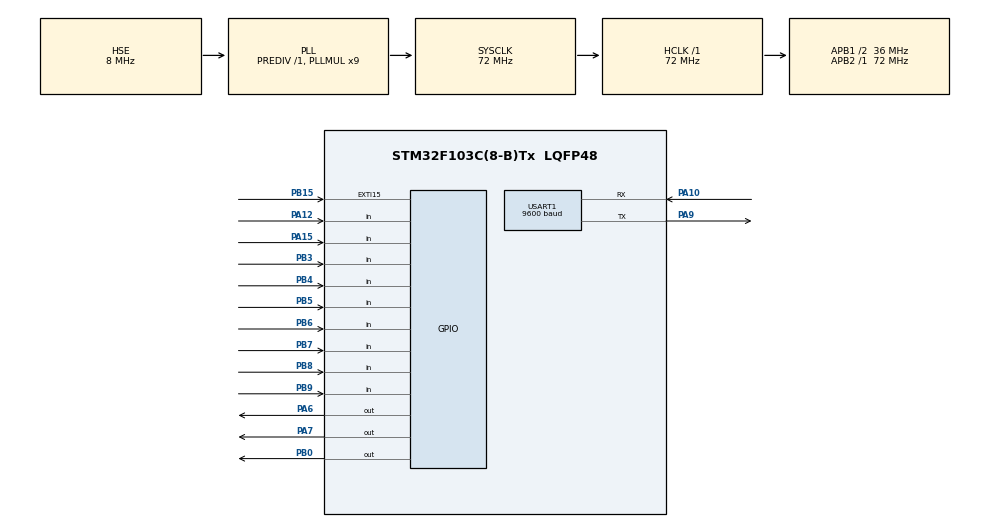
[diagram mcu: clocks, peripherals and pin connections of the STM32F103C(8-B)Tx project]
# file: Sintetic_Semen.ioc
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Mcu.Family=STM32F1
Mcu.Name=STM32F103C(8-B)Tx
Mcu.Package=LQFP48
NVIC.PriorityGroup=NVIC_PRIORITYGROUP_4
NVIC.TIM1_UP_IRQn=true\:0\:0\:false\:false\:true\:true\:true\:true
NVIC.USART1_IRQn=true\:0\:0\:false\:false\:true\:true\:true\:true
PA10.Mode=Asynchronous
PA10.Signal=USART1_RX
PA12.Signal=GPIO_Input
PA13.Mode=Serial_Wire
PA13.Signal=SYS_JTMS-SWDIO
PA14.Mode=Serial_Wire
PA14.Signal=SYS_JTCK-SWCLK
PA15.Signal=GPIO_Input
PA6.Signal=GPIO_Output
PA7.Signal=GPIO_Output
PA9.Mode=Asynchronous
PA9.Signal=USART1_TX
PB0.Signal=GPIO_Output
PB15.Signal=GPXTI15
PB3.Signal=GPIO_Input
PB4.Signal=GPIO_Input
PB5.Signal=GPIO_Input
PB6.Signal=GPIO_Input
PB7.Signal=GPIO_Input
PB8.Signal=GPIO_Input
PB9.Signal=GPIO_Input
PD0-OSC_IN.Mode=HSE-External-Oscillator
PD0-OSC_IN.Signal=RCC_OSC_IN
PD1-OSC_OUT.Mode=HSE-External-Oscillator
PD1-OSC_OUT.Signal=RCC_OSC_OUT
ProjectManager.HeapSize=0x200
ProjectManager.StackSize=0x400
ProjectManager.TargetToolchain=STM32CubeIDE
RCC.AHBFreq_Value=72000000
RCC.APB1CLKDivider=RCC_HCLK_DIV2
RCC.APB1Freq_Value=36000000
RCC.APB1TimFreq_Value=72000000
RCC.APB2Freq_Value=72000000
RCC.APB2TimFreq_Value=72000000
RCC.HCLKFreq_Value=72000000
RCC.PLLMUL=RCC_PLL_MUL9
RCC.PLLSourceVirtual=RCC_PLLSOURCE_HSE
RCC.SYSCLKFreq_VALUE=72000000
RCC.SYSCLKSource=RCC_SYSCLKSOURCE_PLLCLK
RCC.USBFreq_Value=72000000
TIM1.Period=1
TIM1.Prescaler=35999
USART1.BaudRate=9600
USART1.VirtualMode=VM_ASYNC
VP_TIM1_VS_ClockSourceINT.Mode=Internal
board=custom

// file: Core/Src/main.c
/* USER CODE BEGIN Header */
/**
  ******************************************************************************
  * @file           : main.c
  * @brief          : Main program body
  ******************************************************************************
  * @attention
  *
  * Copyright (c) 2023 STMicroelectronics.
  * All rights reserved.
  *
  * This software is licensed under terms that can be found in the LICENSE file
  * in the root directory of this software component.
  * If no LICENSE file comes with this software, it is provided AS-IS.
  *
  ******************************************************************************
  */
/* USER CODE END Header */
#include "main.h"

/* USER CODE BEGIN Includes */
#include "UART.h"
#include "keyboard.h"
#include "StandProcessor.h"

#include "dfr0299.h"
/* USER CODE END Includes */

TIM_HandleTypeDef htim1;

UART_HandleTypeDef huart1;

void SystemClock_Config(void);
static void MX_GPIO_Init(void);
static void MX_TIM1_Init(void);
static void MX_USART1_UART_Init(void);

/* USER CODE BEGIN 0 */
UINT16 TimCount = 0;
UINT16 TimCount2 = 1;
uint8_t KeyFlag = 0;
uint8_t BusyFlag = 0;
void Timer1_Interrupt(){
	TimCount++;
	if(TimCount == 100){
		KeyFlag = 1;
		TimCount = 0;
	}

}

UINT8 track = 0;
/* USER CODE END 0 */

int main(void)
{
  /* USER CODE BEGIN 1 */
	  for(uint8_t i = 0; i < 255; i++)//for (long int i=0; i<500000; i++)
	  {
		  for(uint8_t i = 0; i < 255; i++)
		  {
			asm ("nop""\n\tnop""\n\tnop""\n\tnop""\n\tnop""\n\tnop");
			asm ("nop""\n\tnop""\n\tnop""\n\tnop""\n\tnop""\n\tnop");
			asm ("nop""\n\tnop""\n\tnop""\n\tnop""\n\tnop""\n\tnop");
			asm ("nop""\n\tnop""\n\tnop""\n\tnop""\n\tnop""\n\tnop");
			asm ("nop""\n\tnop""\n\tnop""\n\tnop""\n\tnop""\n\tnop");
			asm ("nop""\n\tnop""\n\tnop""\n\tnop""\n\tnop""\n\tnop");
		  }
	  }
  /* USER CODE END 1 */

  /* MCU Configuration--------------------------------------------------------*/

  /* Reset of all peripherals, Initializes the Flash interface and the Systick. */
  HAL_Init();

  /* Configure the system clock */
  SystemClock_Config();

  /* Initialize all configured peripherals */
  MX_GPIO_Init();
  MX_TIM1_Init();
  MX_USART1_UART_Init();
  /* USER CODE BEGIN 2 */
  UART_Init();
  KeyboardInit();
  StandProcessor_Init();

  HAL_TIM_Base_Start_IT(&htim1);
  /* USER CODE END 2 */

  /* Infinite loop */
  /* USER CODE BEGIN WHILE */
  while (1)
  {
	 // StandProcessor_SetAnswerResultIndicationState(2);

	  if(KeyFlag){
	  			  KeyboardProcess();
	  			  KeyFlag = 0;

/*	  			StandProcessor_GetInfo(TimCount2);
	  			TimCount2++;*/
	  }
    /* USER CODE END WHILE */

  }
}

void SystemClock_Config(void)
{
  RCC_OscInitTypeDef RCC_OscInitStruct = {0};
  RCC_ClkInitTypeDef RCC_ClkInitStruct = {0};

  /** Initializes the RCC Oscillators according to the specified parameters
  * in the RCC_OscInitTypeDef structure.
  */
  RCC_OscInitStruct.OscillatorType = RCC_OSCILLATORTYPE_HSE;
  RCC_OscInitStruct.HSEState = RCC_HSE_ON;
  RCC_OscInitStruct.HSEPredivValue = RCC_HSE_PREDIV_DIV1;
  RCC_OscInitStruct.HSIState = RCC_HSI_ON;
  RCC_OscInitStruct.PLL.PLLState = RCC_PLL_ON;
  RCC_OscInitStruct.PLL.PLLSource = RCC_PLLSOURCE_HSE;
  RCC_OscInitStruct.PLL.PLLMUL = RCC_PLL_MUL9;
  if (HAL_RCC_OscConfig(&RCC_OscInitStruct) != HAL_OK)
  {
    Error_Handler();
  }

  /** Initializes the CPU, AHB and APB buses clocks
  */
  RCC_ClkInitStruct.ClockType = RCC_CLOCKTYPE_HCLK|RCC_CLOCKTYPE_SYSCLK
                              |RCC_CLOCKTYPE_PCLK1|RCC_CLOCKTYPE_PCLK2;
  RCC_ClkInitStruct.SYSCLKSource = RCC_SYSCLKSOURCE_PLLCLK;
  RCC_ClkInitStruct.AHBCLKDivider = RCC_SYSCLK_DIV1;
  RCC_ClkInitStruct.APB1CLKDivider = RCC_HCLK_DIV2;
  RCC_ClkInitStruct.APB2CLKDivider = RCC_HCLK_DIV1;

  if (HAL_RCC_ClockConfig(&RCC_ClkInitStruct, FLASH_LATENCY_2) != HAL_OK)
  {
    Error_Handler();
  }
}

static void MX_TIM1_Init(void)
{

  TIM_ClockConfigTypeDef sClockSourceConfig = {0};
  TIM_MasterConfigTypeDef sMasterConfig = {0};

  htim1.Instance = TIM1;
  htim1.Init.Prescaler = 35999;
  htim1.Init.CounterMode = TIM_COUNTERMODE_UP;
  htim1.Init.Period = 1;
  htim1.Init.ClockDivision = TIM_CLOCKDIVISION_DIV1;
  htim1.Init.RepetitionCounter = 0;
  htim1.Init.AutoReloadPreload = TIM_AUTORELOAD_PRELOAD_DISABLE;
  if (HAL_TIM_Base_Init(&htim1) != HAL_OK)
  {
    Error_Handler();
  }
  sClockSourceConfig.ClockSource = TIM_CLOCKSOURCE_INTERNAL;
  if (HAL_TIM_ConfigClockSource(&htim1, &sClockSourceConfig) != HAL_OK)
  {
    Error_Handler();
  }
  sMasterConfig.MasterOutputTrigger = TIM_TRGO_RESET;
  sMasterConfig.MasterSlaveMode = TIM_MASTERSLAVEMODE_DISABLE;
  if (HAL_TIMEx_MasterConfigSynchronization(&htim1, &sMasterConfig) != HAL_OK)
  {
    Error_Handler();
  }

}

static void MX_USART1_UART_Init(void)
{

  huart1.Instance = USART1;
  huart1.Init.BaudRate = 9600;
  huart1.Init.WordLength = UART_WORDLENGTH_8B;
  huart1.Init.StopBits = UART_STOPBITS_1;
  huart1.Init.Parity = UART_PARITY_NONE;
  huart1.Init.Mode = UART_MODE_TX_RX;
  huart1.Init.HwFlowCtl = UART_HWCONTROL_NONE;
  huart1.Init.OverSampling = UART_OVERSAMPLING_16;
  if (HAL_UART_Init(&huart1) != HAL_OK)
  {
    Error_Handler();
  }

}

static void MX_GPIO_Init(void)
{
  GPIO_InitTypeDef GPIO_InitStruct = {0};

  /* GPIO Ports Clock Enable */
  __HAL_RCC_GPIOD_CLK_ENABLE();
  __HAL_RCC_GPIOA_CLK_ENABLE();
  __HAL_RCC_GPIOB_CLK_ENABLE();

  /*Configure GPIO pin Output Level */
  HAL_GPIO_WritePin(GPIOA, GPIO_PIN_6|GPIO_PIN_7, GPIO_PIN_RESET);

  /*Configure GPIO pin Output Level */
  HAL_GPIO_WritePin(GPIOB, GPIO_PIN_0, GPIO_PIN_RESET);

  /*Configure GPIO pins : PA6 PA7 */
  GPIO_InitStruct.Pin = GPIO_PIN_6|GPIO_PIN_7;
  GPIO_InitStruct.Mode = GPIO_MODE_OUTPUT_PP;
  GPIO_InitStruct.Pull = GPIO_NOPULL;
  GPIO_InitStruct.Speed = GPIO_SPEED_FREQ_LOW;
  HAL_GPIO_Init(GPIOA, &GPIO_InitStruct);

  /*Configure GPIO pin : PB0 */
  GPIO_InitStruct.Pin = GPIO_PIN_0;
  GPIO_InitStruct.Mode = GPIO_MODE_OUTPUT_PP;
  GPIO_InitStruct.Pull = GPIO_NOPULL;
  GPIO_InitStruct.Speed = GPIO_SPEED_FREQ_LOW;
  HAL_GPIO_Init(GPIOB, &GPIO_InitStruct);

  /*Configure GPIO pin : PB15 */
  GPIO_InitStruct.Pin = GPIO_PIN_15;
  GPIO_InitStruct.Mode = GPIO_MODE_IT_RISING;
  GPIO_InitStruct.Pull = GPIO_NOPULL;
  HAL_GPIO_Init(GPIOB, &GPIO_InitStruct);

  /*Configure GPIO pins : PA12 PA15 */
  GPIO_InitStruct.Pin = GPIO_PIN_12|GPIO_PIN_15;
  GPIO_InitStruct.Mode = GPIO_MODE_INPUT;
  GPIO_InitStruct.Pull = GPIO_NOPULL;
  HAL_GPIO_Init(GPIOA, &GPIO_InitStruct);

  /*Configure GPIO pins : PB3 PB4 PB5 PB6
                           PB7 PB8 PB9 */
  GPIO_InitStruct.Pin = GPIO_PIN_3|GPIO_PIN_4|GPIO_PIN_5|GPIO_PIN_6
                          |GPIO_PIN_7|GPIO_PIN_8|GPIO_PIN_9;
  GPIO_InitStruct.Mode = GPIO_MODE_INPUT;
  GPIO_InitStruct.Pull = GPIO_NOPULL;
  HAL_GPIO_Init(GPIOB, &GPIO_InitStruct);

}

void Error_Handler(void)
{
  __disable_irq();
  while (1)
  {
  }
}
